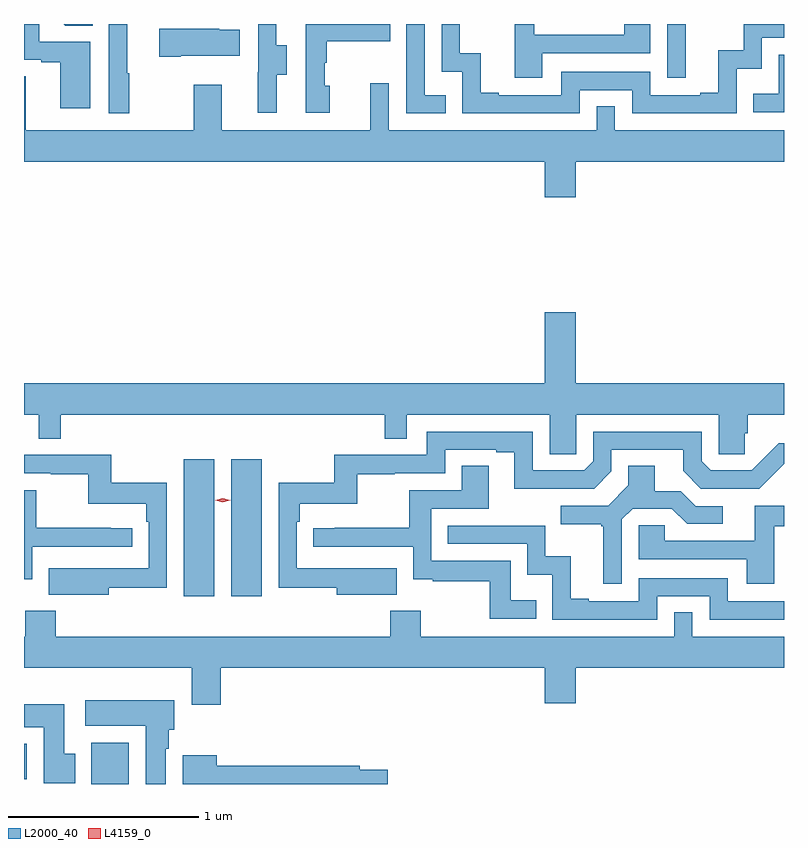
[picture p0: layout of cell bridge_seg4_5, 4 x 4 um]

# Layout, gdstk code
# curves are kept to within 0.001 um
import gdstk
lib = gdstk.Library(unit=1e-6, precision=1e-09)
def R(c, l, rs):  # rectangles x0, y0, x1, y1
    for r in rs: c.add(gdstk.rectangle(r[:2], r[2:], *l))
def P(c, l, *ps):  # polygons
    for p in ps: c.add(gdstk.Polygon(p, *l))
L2000_40 = (2000, 40)
L4159_0 = (4159, 0)

bridge_seg4_5 = lib.new_cell('bridge_seg4_5')
R(bridge_seg4_5, L2000_40, [(905.879,824.18,906.076,824.398), (905.524,824.204,905.539,824.392), (906.365,825.168,906.526,825.889), (906.614,825.168,906.775,825.889), (908.91,827.898,909.007,828.18)])
P(bridge_seg4_5, L2000_40, [(907.745,827.805),(907.632,827.805),(907.632,828.18),(907.536,828.18),(907.536,827.709),(907.745,827.709)],
  [(906.079,827.921),(906.067,827.921),(906.067,828.18),(905.97,828.18),(905.97,827.709),(906.079,827.709)],
  [(906.853,827.914),(906.907,827.914),(906.907,828.069),(906.852,828.069),(906.852,828.18),(906.756,828.18),(906.756,827.925),(906.755,827.925),(906.755,827.712),(906.853,827.712)],
  [(907.132,827.856),(907.107,827.856),(907.107,827.975),(907.117,827.975),(907.117,828.089),(907.451,828.089),(907.451,828.18),(907.008,828.18),(907.008,827.712),(907.132,827.712)],
  [(908.448,827.832),(908.724,827.832),(908.724,827.709),(909.276,827.709),(909.276,827.945),(909.408,827.945),(909.408,828.108),(909.524,828.108),(909.524,828.18),(909.312,828.18),(909.312,828.043),(909.179,828.043),(909.179,827.818),(909.083,827.818),(909.083,827.805),(908.82,827.805),(908.82,827.928),(908.352,827.928),(908.352,827.805),(908.023,827.805),(908.023,827.818),(907.928,827.818),(907.928,828.026),(907.818,828.026),(907.818,828.18),(907.722,828.18),(907.722,827.928),(907.83,827.928),(907.83,827.709),(908.448,827.709)],
  [(908.251,828.027),(908.82,828.027),(908.82,828.18),(908.683,828.18),(908.683,828.123),(908.209,828.123),(908.209,828.18),(908.107,828.18),(908.107,827.898),(908.251,827.898)],
  [(905.872,828.087),(905.603,828.087),(905.603,828.18),(905.524,828.18),(905.524,827.991),(905.615,827.991),(905.615,827.979),(905.714,827.979),(905.714,827.736),(905.872,827.736)],
  [(905.885,828.18),(905.733,828.18),(905.741,828.172),(905.885,828.172)],
  [(906.349,828.014),(906.659,828.014),(906.659,828.151),(906.551,828.151),(906.551,828.154),(906.237,828.154),(906.237,828.007),(906.349,828.007)],
  [(909.524,828.018),(909.496,828.018),(909.496,827.812),(909.361,827.812),(909.361,827.715),(909.524,827.715)],
  [(908.428,827.456),(909.524,827.456),(909.524,827.62),(908.634,827.62),(908.634,827.747),(908.538,827.747),(908.538,827.62),(907.443,827.62),(907.443,827.869),(907.346,827.869),(907.346,827.62),(906.565,827.62),(906.565,827.86),(906.418,827.86),(906.418,827.62),(905.533,827.62),(905.533,827.906),(905.524,827.906),(905.524,827.456),(908.264,827.456),(908.264,827.268),(908.428,827.268)],
  [(908.43,826.124),(909.18,826.124),(909.18,825.916),(909.317,825.916),(909.317,826.026),(909.332,826.026),(909.332,826.124),(909.524,826.124),(909.524,826.288),(908.428,826.288),(908.428,826.663),(908.264,826.663),(908.264,826.288),(905.524,826.288),(905.524,826.124),(905.601,826.124),(905.601,825.997),(905.717,825.997),(905.717,826.124),(907.423,826.124),(907.423,825.997),(907.539,825.997),(907.539,826.124),(908.291,826.124),(908.291,825.916),(908.43,825.916)],
  [(907.487,825.316),(906.96,825.315),(906.96,825.56),(906.974,825.56),(906.974,825.656),(907.279,825.656),(907.279,825.811),(907.475,825.811),(907.475,825.816),(907.74,825.816),(907.74,825.939),(908.009,825.939),(908.009,825.927),(908.105,825.927),(908.105,825.734),(908.526,825.735),(908.616,825.825),(908.616,825.939),(908.993,825.939),(908.993,825.829),(909.087,825.735),(909.393,825.735),(909.524,825.866),(909.524,825.973),(909.496,825.973),(909.354,825.831),(909.138,825.831),(909.09,825.879),(909.09,826.035),(908.52,826.035),(908.52,825.879),(908.472,825.831),(908.202,825.831),(908.202,826.035),(907.644,826.035),(907.644,825.912),(907.158,825.912),(907.158,825.766),(906.864,825.766),(906.864,825.214),(907.169,825.214),(907.169,825.176),(907.487,825.176)],
  [(905.971,825.214),(906.276,825.214),(906.276,825.766),(905.983,825.766),(905.983,825.912),(905.524,825.912),(905.524,825.816),(905.665,825.816),(905.665,825.811),(905.862,825.811),(905.862,825.656),(906.167,825.656),(906.167,825.56),(906.18,825.56),(906.18,825.315),(905.867,825.315),(905.867,825.316),(905.653,825.316),(905.653,825.176),(905.971,825.176)],
  [(908.219,825.148),(908.085,825.148),(908.085,825.354),(907.668,825.354),(907.668,825.63),(907.969,825.63),(907.969,825.854),(907.829,825.854),(907.829,825.726),(907.552,825.726),(907.552,825.53),(907.159,825.53),(907.159,825.525),(907.047,825.525),(907.047,825.429),(907.572,825.429),(907.572,825.257),(907.675,825.257),(907.675,825.246),(907.974,825.246),(907.974,825.051),(908.219,825.051)],
  [(908.67,825.573),(908.727,825.63),(908.933,825.63),(909.014,825.549),(909.202,825.549),(909.202,825.642),(909.06,825.642),(908.98,825.722),(908.845,825.722),(908.845,825.854),(908.705,825.854),(908.705,825.752),(908.598,825.645),(908.349,825.645),(908.349,825.548),(908.562,825.548),(908.562,825.537),(908.573,825.537),(908.573,825.234),(908.67,825.234)],
  [(905.568,825.429),(906.094,825.429),(906.094,825.525),(905.981,825.525),(905.981,825.53),(905.588,825.53),(905.588,825.726),(905.524,825.726),(905.524,825.257),(905.568,825.257)],
  [(909.473,825.537),(909.524,825.537),(909.524,825.645),(909.371,825.645),(909.371,825.459),(908.897,825.459),(908.897,825.543),(908.76,825.543),(908.76,825.363),(909.329,825.363),(909.329,825.234),(909.473,825.234)],
  [(908.856,825.168),(909.132,825.168),(909.132,825.045),(909.524,825.045),(909.524,825.141),(909.228,825.141),(909.228,825.264),(908.76,825.264),(908.76,825.141),(908.497,825.141),(908.497,825.154),(908.401,825.154),(908.401,825.379),(908.268,825.379),(908.268,825.54),(907.753,825.54),(907.753,825.444),(908.172,825.444),(908.172,825.281),(908.304,825.281),(908.304,825.045),(908.856,825.045)],
  [(906.56,824.792),(908.264,824.792),(908.264,824.604),(908.428,824.604),(908.428,824.792),(909.524,824.792),(909.524,824.956),(909.042,824.956),(909.042,825.083),(908.946,825.083),(908.946,824.956),(907.611,824.956),(907.611,825.091),(907.451,825.091),(907.451,824.956),(905.69,824.956),(905.69,825.091),(905.53,825.091),(905.53,824.956),(905.524,824.956),(905.524,824.792),(906.407,824.792),(906.407,824.598),(906.56,824.598)],
  [(906.271,824.366),(906.286,824.366),(906.286,824.466),(906.316,824.466),(906.316,824.62),(905.847,824.62),(905.847,824.486),(906.164,824.486),(906.164,824.18),(906.271,824.18)],
  [(905.794,824.34),(905.737,824.34),(905.737,824.599),(905.524,824.599),(905.524,824.48),(905.627,824.48),(905.627,824.184),(905.794,824.184)],
  [(907.439,824.256),(907.292,824.256),(907.292,824.276),(906.538,824.276),(906.538,824.332),(906.359,824.332),(906.359,824.18),(907.439,824.18)])
P(bridge_seg4_5, L4159_0, [(906.57,825.663),(906.53,825.673),(906.53,825.673),(906.53,825.673),(906.57,825.683),(906.61,825.673),(906.61,825.673),(906.61,825.673)])

lib.write_gds('bridge_seg4_5.gds')
